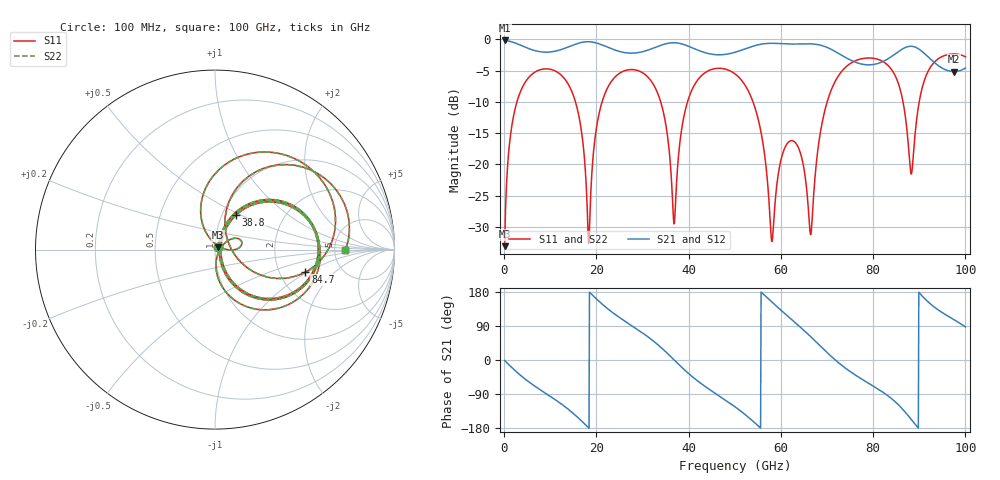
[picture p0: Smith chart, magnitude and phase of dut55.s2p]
! Touchstone file exported from HFSS 2026.1.0
!  File:  C:/ffzhzh/LocalFiles/Ansys_Project_Files/temp_train_TSV_RDL_55_1783446276_28540.aedt
!  Generated:  01:57:04 AM Jul  8, 2026
!  Design:  TSV_RDL
!  Project:  temp_train_TSV_RDL_55_1783446276_28540
! Variables:
!  h_bsmrdl = 3.77um
!  h_ox = 20um
!  h_rdl = 5um
!  h_sub = 64.26um
!  h_tmrdl = 2.63um
!  h_tsv = 64.26um
!  h_via = 3um
!  l_bsmrdl = 363.62um
!  l_sub = 3355.91um
!  l_tmrdl = 436.39um
!  m_sub = 200um
!  pitch = 56.93um
!  r_tsv = 11.7um
!  s_tmrdl = 10um
!  w_bsmrdl = 13.92um
!  w_sub = 500um
!  w_tmrdl = 25.91um
!  x_tsv_center1 = 449.345um
!  x_tsv_center2 = 826.885um
!  x_tsv_center3 = 1289.185um
!  x_tsv_center4 = 1666.725um
!  x_tsv_center5 = 2129.025um
!  x_tsv_center6 = 2506.565um
# GHz S MA R 50.000000
! Terminal data exported
! Port[1] = TM_RDL1_1_T1
! Port[2] = TM_RDL5_1_T1
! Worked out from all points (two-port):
!   1000 points, 100 MHz to 100 GHz, reference 50 ohm
!   highest |S21| = -0.15 dB at 100 MHz (marker M1); lowest = -5.1 dB at 97.5 GHz (marker M2)
!   |S21| within 3 dB of the highest: start of sweep to 74.7 GHz; 83.08 GHz to 92.45 GHz (9.371 GHz wide, 10.7 % of centre)
!   lowest |S11| = -33.1 dB at 100 MHz (marker M3), VSWR 1.05, Z = 51.8 + j1.37 ohm
!   |S11| at or under -10 dB: 15.46 GHz to 21.23 GHz (5.767 GHz wide, 31.4 % of centre); 33.94 GHz to 39.75 GHz (5.807 GHz wide, 15.8 % of centre); 53.96 GHz to 70.03 GHz (16.07 GHz wide, 25.9 % of centre) (the widest 3 of 5)
!   |S22| runs from -33.1 to -2.3 dB; largest |S21 - S12| = 8.7e-14
!   S11 on the Smith chart (normalised r, x): 100 MHz: 1.04, +0.03; 38.8 GHz: 1.16, +0.47; 84.7 GHz: 2.79, -0.96; 100 GHz: 6.30, +0.01
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0.1  0.02215 36.5  0.9824 -1.3  0.9824 -1.3  0.02215 36.5
! Gamma 0 0 0 0
! Port Impedance 50 0 50 0
1.8  0.2185 62.7  0.9538 -21.5  0.9538 -21.5  0.2185 62.7
5.3  0.4951 30.3  0.8466 -57.3  0.8466 -57.3  0.4951 30.3
16.8  0.1804 -65.4  0.948 -161.0  0.948 -161.0  0.1805 -65.5
18.3  0.02335 -8.2  0.9599 -178.7  0.9599 -178.7  0.02308 -8.5
22.8  0.4353 38.7  0.8568 131.8  0.8568 131.8  0.4352 38.7
33.4  0.3623 -47.4  0.883 39.6  0.883 39.6  0.3623 -47.3
36.8  0.03341 -9.2  0.9417 0.8  0.9417 0.8  0.03376 -9.1
38.8  0.2247 58.6  0.9149 -22.7  0.9149 -22.7  0.2249 58.5
50.1  0.5287 -32.8  0.7912 -123.9  0.7912 -123.9  0.5289 -32.8
54.8  0.2519 -74.7  0.902 -170.7  0.902 -170.7  0.2522 -74.7
57.3  0.05842 -82.4  0.9307 161.3  0.9307 161.3  0.05871 -82.4
58.2  0.02586 -4.2  0.932 151.2  0.932 151.2  0.02592 -4.8
62.7  0.1539 13.1  0.9196 102.9  0.9196 102.9  0.1538 13.0
66.7  0.03279 87.7  0.922 58.7  0.922 58.7  0.03264 87.4
71.7  0.4571 85.7  0.8042 1.0  0.8042 1.0  0.4567 85.7
83.4  0.6106 -3.1  0.7073 -96.3  0.7073 -96.3  0.6104 -3.1
84.7  0.5194 -13.9  0.7628 -109.4  0.7628 -109.4  0.5193 -13.9
88.3  0.08378 26.0  0.8826 -157.4  0.8826 -157.4  0.08547 25.9
91.4  0.5043 61.1  0.7554 159.3  0.7554 159.3  0.5045 60.8
97.5  0.7657 16.3  0.5538 106.6  0.5538 106.6  0.7657 16.0
100  0.726 0.0  0.5903 87.3  0.5903 87.3  0.7259 -0.3
